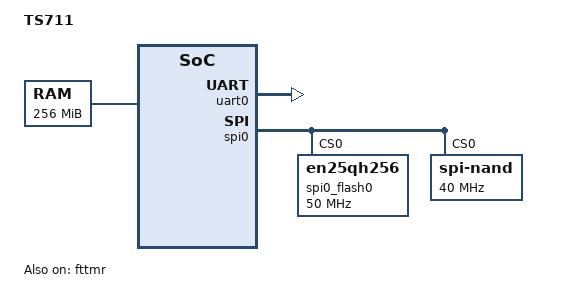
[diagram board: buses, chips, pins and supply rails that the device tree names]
/*
 * Copyright (C) 2021 Faraday, Inc. (www.faraday-tech.com)
 *
 * This program is free software; you can redistribute it and/or modify
 * it under the terms of the GNU General Public License version 2 as
 * published by the Free Software Foundation.
 */
 
/dts-v1/;

#include "faraday-ca9.dtsi"
#include <dt-bindings/interrupt-controller/arm-gic.h>

/  {
	model = "TS711";
	
	memory@20000000 {
		device_type = "memory";
		reg = <0x20000000 0x10000000>;
	};
	
	clocks { 
		compatible = "faraday,ts711evb-clk"; 
	 
		osc0: osc0-33mhz { 
			#clock-cells = <0>; 
			compatible = "ts711evb,osc0"; 
			clock-frequency = <33330000>; 
			clock-output-names = "osc0"; 
		}; 
	 
		osc1: osc1-12mhz { 
			#clock-cells = <0>; 
			compatible = "ts711evb,osc1"; 
			clock-frequency = <12000000>; 
			clock-output-names = "osc1"; 
		}; 
	 
		osc2: osc2-50mhz { 
			#clock-cells = <0>; 
			compatible = "ts711evb,osc2"; 
			clock-frequency = <50000000>; 
			clock-output-names = "osc2"; 
		}; 
	 
		pll0_pre_ckout2: pll0_pre_ckout2 { 
			#clock-cells = <0>; 
			compatible = "ts711evb,pll0_pre_ckout2"; 
			clock-div = <16>; 
			clock-output-names = "pll0_pre_ckout2"; 
			clocks = <&osc0>; 
		}; 
	 
		pll0_ckout0b: pll0_ckout0b { 
			#clock-cells = <0>; 
			compatible = "ts711evb,pll0_ckout0b"; 
			clock-div = <1>; 
			clock-output-names = "pll0_ckout0b"; 
			clocks = <&pll0_pre_ckout2>; 
		}; 
	 
		pll1_ckout2: pll1_ckout2 { 
			#clock-cells = <0>; 
			compatible = "ts711evb,pll1_ckout2"; 
			clock-div = <2>; 
			clock-output-names = "pll1_ckout2"; 
			clocks = <&osc0>; 
		}; 
	 
		pll2: pll2 { 
			#clock-cells = <0>; 
			compatible = "ts711evb,pll2"; 
			clock-div = <1>; 
			clock-output-names = "pll2"; 
			clocks = <&osc0>; 
		}; 
	 	 
		aclk: aclk { 
			#clock-cells = <0>; 
			compatible = "ts711evb,aclk"; 
			clock-mult = <1>; 
			clock-div = <2>; 
			clock-output-names = "aclk"; 
			clocks = <&pll2>; 
		}; 
	 
		hclk: hclk { 
			#clock-cells = <0>; 
			compatible = "ts711evb,hclk"; 
			clock-mult = <1>; 
			clock-div = <4>; 
			clock-output-names = "hclk"; 
			clocks = <&pll2>; 
		}; 
	 
		pclk: pclk { 
			#clock-cells = <0>; 
			compatible = "ts711evb,pclk"; 
			clock-mult = <1>; 
			clock-div = <8>; 
			clock-output-names = "pclk"; 
			clocks = <&pll2>; 
		}; 
 
		cpu: cpu { 
			#clock-cells = <0>; 
			compatible = "ts711evb,cpu"; 
			clock-mult = <1>; 
			clock-div = <1>; 
			clock-output-names = "cpu"; 
			clocks = <&pll0_ckout0b>; 
		}; 
		 
		ddrmclk: ddrmclk { 
			#clock-cells = <0>; 
			compatible = "ts711evb,ddrmclk"; 
			clock-mult = <1>; 
			clock-div = <1>; 
			clock-output-names = "ddrmclk"; 
			clocks = <&pll1_ckout2>; 
		}; 
	}; 
};

&soc {
	#address-cells = <1>;
	#size-cells = <1>;
	
	gic: interrupt-controller@F4001000 {
		compatible = "arm,cortex-a9-gic";
		interrupt-parent = <&gic>;
		interrupt-controller;
		#interrupt-cells = <3>;
		#address-cells = <1>;
		reg = <0xf4001000 0x1000>,
			  <0xf4000100 0x100>;
		interrupts = <GIC_PPI 9 0xF04>;
	};
	
	fttmr: fttmr@80200000 { 
		compatible = "faraday,fttmr010"; 
		interrupt-parent = <&gic>; 
		clocks = <&pclk>; 
		reg = <0x80200000 0x1000>; 
		interrupts = <GIC_SPI 31 IRQ_TYPE_LEVEL_HIGH>; 
		status = "okay"; 
	}; 
	
	uart0: uart@80a00000 {
		compatible = "of_serial", "ns16550a";
		interrupt-parent = <&gic>;
		clock-frequency = <33330000>;
		reg = <0x80a00000 0x1000>;
		reg-offset = <0>;
		reg-shift = <2>;
		reg-io-width = <4>;
		no-loopback-test;
	};
	
	spi0: spi@82100000 {
		compatible = "faraday,ftspi020_spi";
		interrupt-parent = <&gic>;
		reg = <0x82100000 0x200>;
		num-cs = <4>;
		cs = <0>;
		max_hz = <20000000>;
		interrupts = <GIC_SPI 69 IRQ_TYPE_EDGE_RISING>;
		#address-cells = <1>;
		#size-cells = <0>;
		
		spi0_flash0: spi0_flash0@0 {
			compatible = "en25qh256";
			#address-cells = <1>;
			#size-cells = <1>;
			spi-max-frequency = <50000000>;
			reg = <0>;
			
			spi0_flash0@00000000 {
			label = "spi0_flash0";
			reg = <0x0 0x100000>;
			};
		};
		
		spi-nand@0 {
			#address-cells = <1>;
			#size-cells = <1>;
			compatible = "spi-nand";
			spi-max-frequency = <40000000>;
			reg = <0>;
		};
	};
};
